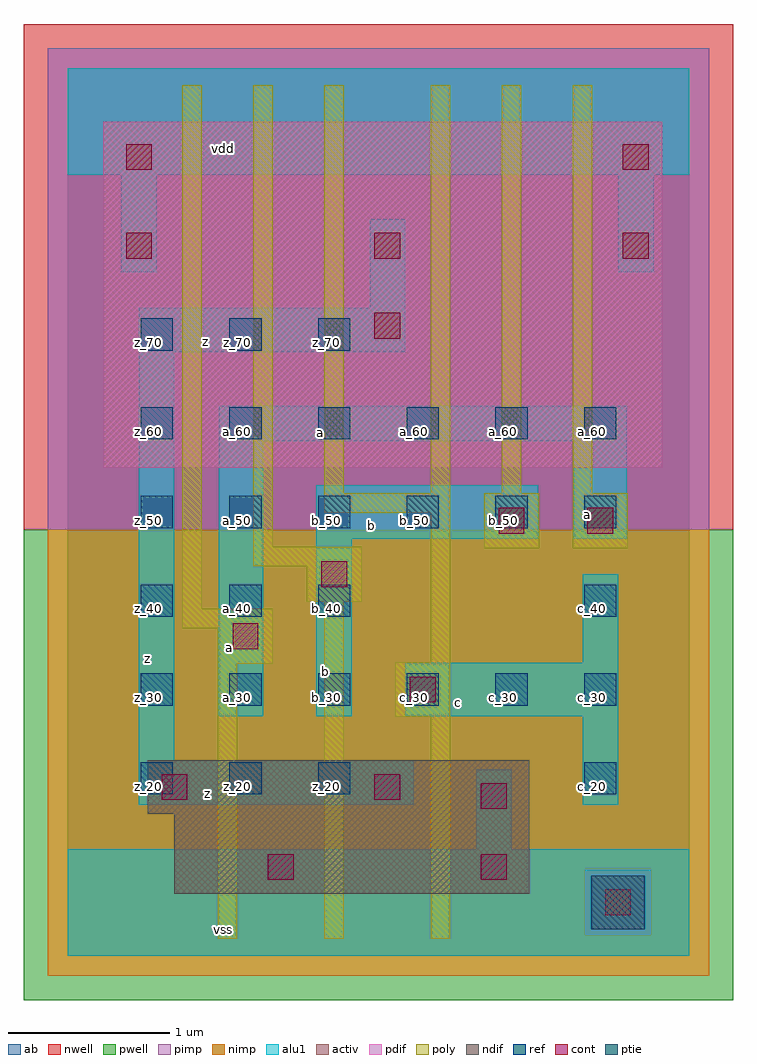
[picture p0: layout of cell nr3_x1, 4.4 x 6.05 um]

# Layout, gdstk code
import gdstk
lib = gdstk.Library(unit=1e-6, precision=2.5e-09)
def R(c, l, rs):  # rectangles x0, y0, x1, y1
    for r in rs: c.add(gdstk.rectangle(r[:2], r[2:], *l))
def A(c, l, x, y, w, h, nx, ny, dx, dy):  # array of equal rectangles
    R(c, l, [(x+i*dx, y+j*dy, x+i*dx+w, y+j*dy+h) for i in range(nx) for j in range(ny)])
ndif = (3, 0)
pdif = (4, 0)
ptie = (6, 0)
ref = (24, 0)
cont = (25, 0)
pwell = (41, 0)
nwell = (42, 0)
activ = (43, 0)
pimp = (44, 0)
nimp = (45, 0)
poly = (46, 0)
alu1 = (49, 0)
ab = (63, 0)

nr3_x1 = lib.new_cell('nr3_x1')
R(nr3_x1, ndif, [(0.66,0.385,2.86,0.88), (0.495,0.88,2.86,1.21)])
R(nr3_x1, pdif, [(0.22,3.025,3.685,5.17)])
R(nr3_x1, ptie, [(3.245,0.165,3.575,0.495)])
A(nr3_x1, ref, 0.45, 1, 0.2, 0.2, 3, 2, 0.55, 1.1)
A(nr3_x1, ref, 0.45, 1.55, 0.2, 0.2, 6, 2, 0.55, 1.1)
A(nr3_x1, ref, 0.45, 3.2, 0.2, 0.2, 6, 1, 0.55, 0)
A(nr3_x1, ref, 0.45, 3.75, 0.2, 0.2, 3, 1, 0.55, 0)
R(nr3_x1, ref, [(3.2,1,3.4,1.2), (3.2,2.1,3.4,2.3)])
A(nr3_x1, cont, 0.36, 4.32, 0.16, 0.16, 3, 1, 1.54, 0)
R(nr3_x1, cont, [(3.33,0.25,3.49,0.41), (1.24,0.47,1.4,0.63), (2.56,0.47,2.72,0.63), (2.56,0.91,2.72,1.07), (0.58,0.965,0.74,1.125), (1.9,0.965,2.06,1.125), (2.12,1.57,2.28,1.73), (1.02,1.9,1.18,2.06), (1.57,2.285,1.73,2.445), (2.67,2.615,2.83,2.775), (3.22,2.615,3.38,2.775), (1.9,3.825,2.06,3.985), (0.36,4.87,0.52,5.03), (3.44,4.87,3.6,5.03)])
R(nr3_x1, pwell, [(-0.275,-0.275,4.125,2.64)])
R(nr3_x1, nwell, [(-0.275,2.64,4.125,5.775)])
R(nr3_x1, activ, [(3.245,0.165,3.575,0.495), (0.66,0.385,2.86,0.88), (0.495,0.88,2.86,1.21), (0.22,3.025,3.685,5.17)])
R(nr3_x1, pimp, [(3.205,0.125,3.615,0.535), (-0.125,2.64,3.975,5.625)])
R(nr3_x1, nimp, [(-0.125,-0.125,3.975,0.125), (-0.125,0.125,3.205,0.535), (3.615,0.125,3.975,0.535), (-0.125,0.535,3.975,2.64)])
A(nr3_x1, poly, 2.25, 2.865, 0.12, 2.53, 3, 1, 0.44, 0)
R(nr3_x1, poly, [(0.93,0.105,1.05,1.81), (1.59,0.105,1.71,2.195), (2.25,0.105,2.37,1.48), (2.03,1.48,2.37,1.82), (0.93,1.81,1.27,2.03), (2.25,1.82,2.37,2.745), (0.71,2.03,1.27,2.15), (0.71,2.15,0.83,5.395), (1.48,2.195,1.82,2.415), (1.15,2.415,1.82,2.535), (2.58,2.525,2.92,2.865), (3.13,2.525,3.47,2.865), (1.15,2.535,1.27,5.395), (1.59,2.745,2.37,2.865), (1.59,2.865,1.71,5.395)])
R(nr3_x1, alu1, [(0,0,3.85,0.66), (2.53,0.66,2.75,1.155), (0.44,0.935,2.145,1.21), (3.19,0.935,3.41,1.485), (0.44,1.21,0.66,3.74), (0.935,1.485,1.21,3.19), (1.54,1.485,1.76,2.585), (2.09,1.485,3.41,1.815), (3.19,1.815,3.41,2.365), (1.54,2.585,2.915,2.915), (3.135,2.585,3.465,3.19), (0.935,3.19,3.465,3.41), (0.44,3.74,2.09,4.015), (1.87,4.015,2.09,4.565), (0.33,4.235,0.55,4.84), (3.41,4.235,3.63,4.84), (0,4.84,3.85,5.5)])
R(nr3_x1, ab, [(0,0,3.85,5.5)])
nr3_x1.add(gdstk.Label('vss', (0.9625,0.165), layer=49, texttype=0))
nr3_x1.add(gdstk.Label('z', (0.865,1.0025), layer=49, texttype=0))
nr3_x1.add(gdstk.Label('c', (2.42,1.5675), layer=49, texttype=0))
nr3_x1.add(gdstk.Label('b', (1.595,1.76), layer=49, texttype=0))
nr3_x1.add(gdstk.Label('a', (3.2175,2.735), layer=49, texttype=0))
nr3_x1.add(gdstk.Label('b', (1.8825,2.6675), layer=49, texttype=0))
nr3_x1.add(gdstk.Label('a', (1.0025,1.91), layer=49, texttype=0))
nr3_x1.add(gdstk.Label('a', (1.5675,3.245), layer=49, texttype=0))
nr3_x1.add(gdstk.Label('z', (0.495,1.8425), layer=49, texttype=0))
nr3_x1.add(gdstk.Label('z', (0.8525,3.8075), layer=49, texttype=0))
nr3_x1.add(gdstk.Label('vdd', (0.9625,5.005), layer=49, texttype=0))
nr3_x1.add(gdstk.Label('c_30', (2.15,1.6), layer=24, texttype=0))
nr3_x1.add(gdstk.Label('c_30', (2.7,1.6), layer=24, texttype=0))
nr3_x1.add(gdstk.Label('c_40', (3.25,2.15), layer=24, texttype=0))
nr3_x1.add(gdstk.Label('c_20', (3.25,1.05), layer=24, texttype=0))
nr3_x1.add(gdstk.Label('c_30', (3.25,1.6), layer=24, texttype=0))
nr3_x1.add(gdstk.Label('a_60', (1.05,3.25), layer=24, texttype=0))
nr3_x1.add(gdstk.Label('z_70', (0.5,3.8), layer=24, texttype=0))
nr3_x1.add(gdstk.Label('b_30', (1.6,1.6), layer=24, texttype=0))
nr3_x1.add(gdstk.Label('b_50', (1.6,2.7), layer=24, texttype=0))
nr3_x1.add(gdstk.Label('b_50', (2.15,2.7), layer=24, texttype=0))
nr3_x1.add(gdstk.Label('b_50', (2.7,2.7), layer=24, texttype=0))
nr3_x1.add(gdstk.Label('a_60', (3.25,3.25), layer=24, texttype=0))
nr3_x1.add(gdstk.Label('a_60', (2.7,3.25), layer=24, texttype=0))
nr3_x1.add(gdstk.Label('a_60', (2.15,3.25), layer=24, texttype=0))
nr3_x1.add(gdstk.Label('a_60', (1.6,3.25), layer=24, texttype=0))
nr3_x1.add(gdstk.Label('b_40', (1.6,2.15), layer=24, texttype=0))
nr3_x1.add(gdstk.Label('z_40', (0.5,2.15), layer=24, texttype=0))
nr3_x1.add(gdstk.Label('z_50', (0.5,2.7), layer=24, texttype=0))
nr3_x1.add(gdstk.Label('z_60', (0.5,3.25), layer=24, texttype=0))
nr3_x1.add(gdstk.Label('z_70', (1.05,3.8), layer=24, texttype=0))
nr3_x1.add(gdstk.Label('a_50', (1.05,2.7), layer=24, texttype=0))
nr3_x1.add(gdstk.Label('a_50', (3.25,2.7), layer=24, texttype=0))
nr3_x1.add(gdstk.Label('a_30', (1.05,1.6), layer=24, texttype=0))
nr3_x1.add(gdstk.Label('a_40', (1.05,2.15), layer=24, texttype=0))
nr3_x1.add(gdstk.Label('z_70', (1.6,3.8), layer=24, texttype=0))
nr3_x1.add(gdstk.Label('z_30', (0.5,1.6), layer=24, texttype=0))
nr3_x1.add(gdstk.Label('z_20', (0.5,1.05), layer=24, texttype=0))
nr3_x1.add(gdstk.Label('z_20', (1.05,1.05), layer=24, texttype=0))
nr3_x1.add(gdstk.Label('z_20', (1.6,1.05), layer=24, texttype=0))

lib.write_gds('nr3_x1.gds')
